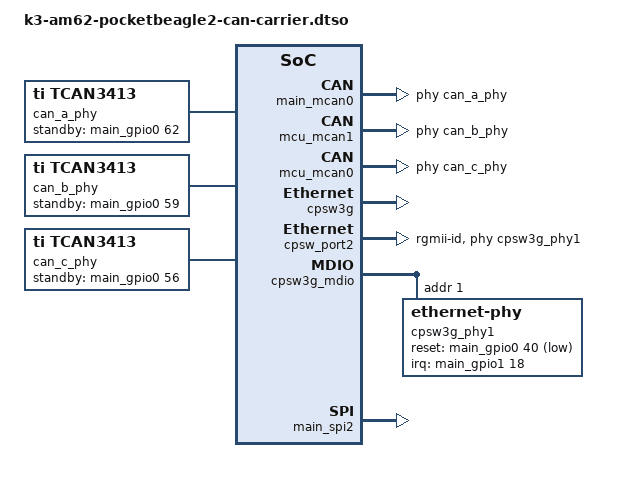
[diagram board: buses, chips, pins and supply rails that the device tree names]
// SPDX-License-Identifier: GPL-2.0-only OR MIT
/*
 * PocketBeagle 2 CAN Carrier baseboard, hardware V1.0 with the corrections
 * recorded in PB2_CAN_Carrier_Linux_Image_Work_Order.typ §2.
 *
 * Based on the v6.18.x k3-am62-pocketbeagle2.dts (see manifests/sources.lock
 * for the pinned commit). Pin offsets/modes verified against that pinned
 * base plus its k3-am62-pocketbeagle2-pinmux.dtsi (header-pin/ball fallback
 * reference) and against arch/arm64/boot/dts/ti/k3-am625-sk-common.dtsi and
 * k3-am625-sancloud-bbe-2.dts (linux-stable v6.18) for the RGMII2 and SPI2
 * function-mode confirmations respectively.
 *
 * Scope: 3x CAN-FD (TCAN3413 generic PHY + M_CAN), carrier UART0 console,
 * Gigabit Ethernet (DP83867 on CPSW port 2), user LED, SPI2 controller
 * only, and the 13-line J3 GPIO breakout. USB1 host and MAIN_UART6 need no
 * changes here: the stock PB2 DTS already configures them as required.
 */

/dts-v1/;
/plugin/;

#include <dt-bindings/gpio/gpio.h>
#include <dt-bindings/interrupt-controller/irq.h>
#include <dt-bindings/leds/common.h>
#include <dt-bindings/net/ti-dp83867.h>
#include "ti/k3-pinctrl.h"

/*
 * MAIN_UART6 is the default, complete console (work order D-12,
 * superseding the earlier D-06 decision to make carrier UART0 primary):
 * a jumper-selectable debug breakout on J4 will let the FTDI target
 * either MAIN_UART6 or carrier UART0, so the software default now
 * matches a stock, unmodified PocketBeagle 2. This overlay still applies
 * UART0's pinctrl unconditionally (see the Ethernet/UART0 pin group
 * below), so the UART0 device always exists as a plain serial port --
 * carrier UART0 as the active kernel console is a manual, reboot-time
 * override via /extlinux/extlinux.conf (see configs/uboot.fragment),
 * not a default set here or in the kernel command line.
 * /chosen/stdout-path can't be set to a base-only label from a plugin
 * overlay (dtc resolves stdout-path's label shorthand to a path STRING
 * at compile time -- unlike a <&label> phandle cell, that can't be
 * deferred through the overlay fixup mechanism to apply time), so
 * console selection is driven entirely by the U-Boot/kernel command
 * line (earlycon + console=) in configs/uboot.fragment regardless.
 */
&{/chosen} {
	overlays {
		k3-am62-pocketbeagle2-can-carrier.kernel = __TIMESTAMP__;
	};
};

/*
 * ---------------------------------------------------------------------
 * 1. CAN-FD transceiver PHYs (work order §5.3, §6.1)
 *
 * Each TCAN3413 is single-channel, STB-only (no software enable pin).
 * standby-gpios is active-high: the generic phy driver requests it
 * GPIOD_OUT_HIGH (standby) at probe time and only drives it low in
 * can_transceiver_phy_power_on(), which m_can_open() now calls after
 * the controller is started (see patches/kernel/0002-...).
 * ---------------------------------------------------------------------
 */
&main_pmx0 {
	can_a_pins_default: can-a-default-pins {
		pinctrl-single,pins = <
			AM62X_IOPAD(0x01d8, PIN_OUTPUT, 0) /* (C15) MCAN0_TX */
			AM62X_IOPAD(0x01dc, PIN_INPUT, 0)  /* (E15) MCAN0_RX */
			AM62X_IOPAD(0x00fc, PIN_OUTPUT, 7) /* (Y20) VOUT0_DE.GPIO0_62 -- CAN A STB */
		>;
	};

	can_b_stb_pins_default: can-b-stb-default-pins {
		pinctrl-single,pins = <
			AM62X_IOPAD(0x00f0, PIN_OUTPUT, 7) /* (Y22) VOUT0_DATA14.GPIO0_59 -- CAN B STB */
		>;
	};

	can_c_stb_pins_default: can-c-stb-default-pins {
		pinctrl-single,pins = <
			AM62X_IOPAD(0x00e4, PIN_OUTPUT, 7) /* (AA23) VOUT0_DATA11.GPIO0_56 -- CAN C STB */
		>;
	};

	/* CAN C TX/RX vs main_i2c2 (work order §5.2): park the main_i2c2
	 * companion balls (GPIO0_43/44) as bias-disabled inputs. */
	can_c_i2c2_companion_park: can-c-i2c2-companion-park-pins {
		pinctrl-single,pins = <
			AM62X_IOPAD(0x00b0, PIN_INPUT, 7) /* (K22) GPMC0_CSn2.GPIO0_43 */
			AM62X_IOPAD(0x00b4, PIN_INPUT, 7) /* (K24) GPMC0_CSn3.GPIO0_44 */
		>;
	};

	/* CAN C STB companion (work order §5.2): park GPIO1_29. */
	can_c_stb_companion_park: can-c-stb-companion-park-pins {
		pinctrl-single,pins = <
			AM62X_IOPAD(0x01ec, PIN_INPUT, 7) /* (A17) I2C1_SDA.GPIO1_29 */
		>;
	};
};

&mcu_pmx0 {
	/* CAN B = MCU_MCAN1 (work order Appendix A: TX=P2.11, RX=P2.09) */
	can_b_pins_default: can-b-default-pins {
		pinctrl-single,pins = <
			AM62X_MCU_IOPAD(0x003c, PIN_OUTPUT, 0) /* (E5) MCU_MCAN1_TX */
			AM62X_MCU_IOPAD(0x0040, PIN_INPUT, 0)  /* (D4) MCU_MCAN1_RX */
		>;
	};

	/* CAN C = MCU_MCAN0 (work order Appendix A: TX=P1.26, RX=P1.28) */
	can_c_pins_default: can-c-default-pins {
		pinctrl-single,pins = <
			AM62X_MCU_IOPAD(0x0034, PIN_OUTPUT, 0) /* (D6) MCU_MCAN0_TX */
			AM62X_MCU_IOPAD(0x0038, PIN_INPUT, 0)  /* (B3) MCU_MCAN0_RX */
		>;
	};
};

/*
 * A bare `/ { newnode {...}; };` block at the top level of a /plugin/
 * file is NOT auto-wrapped into a fragment by dtc: it compiles fine and
 * gets a local phandle for in-file references, but fdtoverlay's runtime
 * apply step only merges actual fragment/__overlay__ structures, so an
 * un-wrapped node is silently dropped when the overlay is applied to a
 * live base tree (verified empirically with fdtoverlay against the
 * pinned base dtb: the node compiled cleanly but never appeared in the
 * merged output). New standalone nodes must instead be merged in via an
 * explicit path target, `&{/path}`, matching the &{/chosen} pattern
 * BeagleBoard's own overlays already use for this same reason.
 */
&{/} {
	can_a_phy: can-phy-a {
		compatible = "ti,tcan3413";
		#phy-cells = <0>;
		max-bitrate = <8000000>;
		standby-gpios = <&main_gpio0 62 GPIO_ACTIVE_HIGH>;
	};

	can_b_phy: can-phy-b {
		compatible = "ti,tcan3413";
		#phy-cells = <0>;
		max-bitrate = <8000000>;
		standby-gpios = <&main_gpio0 59 GPIO_ACTIVE_HIGH>;
	};

	can_c_phy: can-phy-c {
		compatible = "ti,tcan3413";
		#phy-cells = <0>;
		max-bitrate = <8000000>;
		standby-gpios = <&main_gpio0 56 GPIO_ACTIVE_HIGH>;
	};
};

/* Merge into the stock /leds node (adds a child + extends pinctrl-0)
 * rather than redeclaring it, so the stock USR LED 1-4 pin claim
 * (&led_pins_default) is kept alongside the carrier LED's (work order
 * §8: preserve stock PB2 onboard LEDs). */
&{/leds} {
	pinctrl-0 = <&led_pins_default &carrier_user_led_pins_default>;

	carrier_user_led: led-carrier-user {
		function = LED_FUNCTION_INDICATOR;
		function-enumerator = <0>;
		color = <LED_COLOR_ID_GREEN>;
		gpios = <&main_gpio0 55 GPIO_ACTIVE_LOW>;
		default-state = "off";
		label = "carrier:user";
	};
};

&main_mcan0 {
	/* CAN A */
	pinctrl-names = "default";
	pinctrl-0 = <&can_a_pins_default>;
	phys = <&can_a_phy>;
	status = "okay";
};

&mcu_mcan1 {
	/* CAN B */
	pinctrl-names = "default";
	pinctrl-0 = <&can_b_pins_default &can_b_stb_pins_default>;
	phys = <&can_b_phy>;
	status = "okay";
};

&mcu_mcan0 {
	/* CAN C */
	pinctrl-names = "default";
	pinctrl-0 = <&can_c_pins_default &can_c_stb_pins_default
		     &can_c_i2c2_companion_park &can_c_stb_companion_park>;
	phys = <&can_c_phy>;
	status = "okay";
};

/* CAN C vs main_i2c2 (work order §5.2): disable the stock main_i2c2 use
 * of these same balls. Nothing on this carrier or the stock PB2 module
 * depends on main_i2c2 at runtime. */
&main_i2c2 {
	status = "disabled";
};

/*
 * ---------------------------------------------------------------------
 * 2. User LED vs epwm2 (work order §4.4, §5.2)
 * ---------------------------------------------------------------------
 */
&main_pmx0 {
	carrier_user_led_pins_default: carrier-user-led-default-pins {
		pinctrl-single,pins = <
			AM62X_IOPAD(0x00e0, PIN_OUTPUT, 7) /* (V20) VOUT0_DATA10.GPIO0_55 */
		>;
	};

	/* epwm2 companion park: ball B17 also carries EHRPWM2_A (epwm2,
	 * mode 8) in the stock PB2 DTS; park it as GPIO1_28 input. */
	epwm2_companion_park: epwm2-companion-park-pins {
		pinctrl-single,pins = <
			AM62X_IOPAD(0x01e8, PIN_INPUT, 7) /* (B17) I2C1_SCL.GPIO1_28 */
		>;
	};
};

&epwm2 {
	status = "disabled";
};

&main_gpio1 {
	pinctrl-names = "default";
	pinctrl-0 = <&epwm2_companion_park>;
};

/*
 * ---------------------------------------------------------------------
 * 3. Gigabit Ethernet: DP83867 on CPSW port 2 (work order §4.3, §5.4)
 *
 * RGMII2 pin group and the phy-mode/ti,rx-internal-delay pairing verified
 * against linux-stable v6.18 k3-am625-sk-common.dtsi, which uses the
 * identical AM625 RGMII2 balls with phy-mode "rgmii-rxid" (the SK board
 * uses DP83867_RGMIIDCTL_2_00_NS).
 *
 * This carrier needs a different RX delay: the hardware straps decode to
 * 2.0 ns (work order §4.3.1), but on real hardware 2.0 ns sits on the
 * edge of the working window (about 30-40 % CRC errors on received frames
 * and the same share of lost pings at 1 Gbit/s). A sweep of the PHY's RX
 * delay showed a clean window of 2.25-2.75 ns (0 CRC errors over 1500 x
 * 1400 B pings at 2.25, 2.50 and 2.75 ns); 2.50 ns is its centre. TX
 * delay stays 0 ns (the MAC supplies it, D-10).
 * ---------------------------------------------------------------------
 */
&main_pmx0 {
	main_rgmii2_pins_default: main-rgmii2-default-pins {
		pinctrl-single,pins = <
			AM62X_IOPAD(0x0184, PIN_INPUT, 0)  /* (AE23) RGMII2_RD0 */
			AM62X_IOPAD(0x0188, PIN_INPUT, 0)  /* (AB20) RGMII2_RD1 */
			AM62X_IOPAD(0x018c, PIN_INPUT, 0)  /* (AC21) RGMII2_RD2 */
			AM62X_IOPAD(0x0190, PIN_INPUT, 0)  /* (AE22) RGMII2_RD3 */
			AM62X_IOPAD(0x0180, PIN_INPUT, 0)  /* (AD23) RGMII2_RXC */
			AM62X_IOPAD(0x017c, PIN_INPUT, 0)  /* (AD22) RGMII2_RX_CTL */
			AM62X_IOPAD(0x016c, PIN_OUTPUT, 0) /* (Y18) RGMII2_TD0 */
			AM62X_IOPAD(0x0170, PIN_OUTPUT, 0) /* (AA18) RGMII2_TD1 */
			AM62X_IOPAD(0x0174, PIN_OUTPUT, 0) /* (AD21) RGMII2_TD2 */
			AM62X_IOPAD(0x0178, PIN_OUTPUT, 0) /* (AC20) RGMII2_TD3 */
			AM62X_IOPAD(0x0168, PIN_OUTPUT, 0) /* (AE21) RGMII2_TXC */
			AM62X_IOPAD(0x0164, PIN_OUTPUT, 0) /* (AA19) RGMII2_TX_CTL */
		>;
	};

	main_mdio0_pins_default: main-mdio0-default-pins {
		pinctrl-single,pins = <
			AM62X_IOPAD(0x0160, PIN_OUTPUT, 0) /* (AD24) MDIO0_MDC */
			AM62X_IOPAD(0x015c, PIN_INPUT, 0)  /* (AB22) MDIO0_MDIO */
		>;
	};

	/* MDIO0 companions (work order Appendix A): park GPIO1_11/GPIO1_9. */
	main_mdio0_companion_park: main-mdio0-companion-park-pins {
		pinctrl-single,pins = <
			AM62X_IOPAD(0x01a4, PIN_INPUT, 7) /* (B20) MCASP0_ACLKX.GPIO1_11 */
			AM62X_IOPAD(0x019c, PIN_INPUT, 7) /* (B18) MCASP0_AXR1.GPIO1_9 */
		>;
	};

	eth_reset_pins_default: eth-reset-default-pins {
		pinctrl-single,pins = <
			AM62X_IOPAD(0x00a4, PIN_OUTPUT, 7) /* (M22) GPMC0_DIR.GPIO0_40 -- ETH reset */
		>;
	};

	eth_int_pins_default: eth-int-default-pins {
		pinctrl-single,pins = <
			AM62X_IOPAD(0x01c0, PIN_INPUT, 7) /* (B13) SPI0_D0.GPIO1_18 -- ETH interrupt */
		>;
	};

	/* Ethernet reset companion (work order Appendix A / §5.2): P2.29 is a
	 * dual-ball position -- GPIO0_40 (M22, driven above) and GPIO1_17
	 * (A14) are two different SoC balls physically tied to the same
	 * header pin. A14 is also the stock main_spi0's SPI0_CLK; without
	 * both disabling main_spi0 below AND parking this ball explicitly,
	 * main_spi0's own pinctrl request would keep driving A14 as an
	 * active SPI clock in direct electrical contention with GPIO0_40
	 * driving the same header pin as a reset line. */
	eth_reset_companion_park: eth-reset-companion-park-pins {
		pinctrl-single,pins = <
			AM62X_IOPAD(0x01bc, PIN_INPUT, 7) /* (A14) SPI0_CLK.GPIO1_17 */
		>;
	};
};

/* Freed for the Ethernet reset/interrupt lines above (work order Appendix
 * A: GPIO1_17 companion of GPIO0_40 at P2.29, and GPIO1_18 used directly
 * for the interrupt): main_spi0's own pinctrl claims ball A14 (SPI0_CLK)
 * and ball B13 (SPI0_D0), the same balls/register offsets the carrier
 * needs. Leaving main_spi0 enabled would contend with the carrier's own
 * claim on B13 and drive A14 as an active clock against GPIO0_40 on the
 * same physical header pin. No consumer of main_spi0 was found anywhere
 * in the base PB2 DTS tree. */
&main_spi0 {
	status = "disabled";
};

/* MDIO0_MDC vs ecap2 (found on real hardware, RELEASE_NOTES.md item 9):
 * P2.01 is a dual-ball position -- AD24 (0x0160, MDIO0_MDC, claimed by
 * main_mdio0_pins_default above) and B20 (0x01a4, ECAP2_IN_APWM_OUT,
 * parked as GPIO1_11 by main_mdio0_companion_park above) are two
 * different SoC balls physically tied to the same header pin, same
 * pattern as the P2.29/eth_reset and P1.33/epwm2 companions elsewhere in
 * this file. The stock PB2 DTS keeps &ecap2 enabled by default
 * (k3-am62-pocketbeagle2-pinmux.dtsi) with a pinctrl-0 that claims BOTH
 * balls -- B20 actively as ECAP2_IN_APWM_OUT, and AD24 parked as its
 * companion. Left enabled, ecap2's own pinctrl-single request for AD24
 * (pin index 88 in the pinctrl-single driver's own numbering: 0x0160 / 4
 * = 88) wins the probe-order race, and cpsw3g's own request for that
 * same pad then fails with -EINVAL ("pin-88 ... already requested by
 * 23120000.pwm"), confirmed on real hardware. Nothing on this carrier
 * uses ECAP2 PWM capture. */
&ecap2 {
	status = "disabled";
};

&cpsw3g {
	pinctrl-names = "default";
	pinctrl-0 = <&main_rgmii2_pins_default &main_mdio0_pins_default
		     &main_mdio0_companion_park &eth_reset_pins_default
		     &eth_reset_companion_park &eth_int_pins_default>;
	status = "okay";
};

&cpsw_port2 {
	/* "rgmii-id", not "rgmii-rxid" (found on real hardware, dmesg: "RGMII
	 * mode without internal TX delay unsupported; please fix your Device
	 * Tree"). am65-cpsw-nuss.c has a fixed, always-on internal TX delay
	 * in RGMII mode for this MAC IP -- not board-configurable, not
	 * optional. The driver silently remaps "rgmii-id" -> "rgmii-rxid"
	 * internally (same PHY-side RX-delay-only behavior we already
	 * configured via ti,rx-internal-delay below, TX delay still left
	 * unprogrammed on the PHY per the decoded hardware straps, work
	 * order §4.3.1) and only warns when the DT claims no TX delay exists
	 * anywhere ("rgmii" or "rgmii-rxid") -- which was this carrier's
	 * previous, incorrect setting for this specific MAC driver. */
	phy-mode = "rgmii-id";
	phy-handle = <&cpsw3g_phy1>;
	status = "okay";
	/* Persistent MAC (work order §5.4 / §11 ETH-04). Only cpsw_port1 has
	 * the SoC's factory MAC hooked up in k3-am62-main.dtsi, but this
	 * carrier uses port 2 (the only external port), so without this
	 * property the driver logs "Use random MAC address" and the address
	 * changes on every boot. The U-Boot board fixup this node used to rely
	 * on does not happen on real hardware (U-Boot reports "Net: No
	 * ethernet found"). Point port 2 at the same eFuse slot: offset 0 of
	 * &cpsw_mac_syscon (0x43000200/0x43000204, MAC_ID0/MAC_ID1) holds the
	 * SoC's factory MAC. Port 1 is not used on this carrier, so the two
	 * ports never share a MAC on the wire. */
	ti,syscon-efuse = <&cpsw_mac_syscon 0x0>;
};

&cpsw3g_mdio {
	/* Redundant with the base node (matches it exactly): makes this
	 * fragment self-consistent so dtc's overlay checker doesn't fall
	 * back to the root default #address-cells/#size-cells when
	 * checking ethernet-phy@1's reg property out of base-dtb context. */
	#address-cells = <1>;
	#size-cells = <0>;
	status = "okay";

	cpsw3g_phy1: ethernet-phy@1 {
		reg = <1>;
		/* 2.50 ns = centre of the measured clean window (see the
		 * RGMII comment above). The Linux driver always writes this
		 * value, so changing the RX delay straps on the PCB does not
		 * replace it. */
		ti,rx-internal-delay = <DP83867_RGMIIDCTL_2_50_NS>;
		/* PHY TX delay intentionally left unprogrammed (work order
		 * §4.3.1: decoded PHY TX delay strap = 0 ns; the AM62x MAC
		 * side supplies TX timing per D-10). */
		/* RJ45 LEDs, Raspberry Pi 4/5 style (needs kernel patch
		 * 0003-net-phy-dp83867-add-ti-led-function...). Cells: LED_0,
		 * LED_1, LED_2, LED_GPIO = LEDCR1 source codes.
		 *   LED_1 (green, Q1/J6 pins 11-12): 11 = link up, blinks on RX/TX activity
		 *   LED_2 (orange, Q2/J6 pins 13-14):  5 = 1000BASE-T link only
		 *   LED_0 is not connected (0), LED_GPIO keeps its default (6;
		 *   the GPIO_0 pin is not muxed as LED_3, so Q3 stays off).
		 * The PHY drops this selection on every reset, so the driver
		 * re-applies it each time the PHY is initialised. */
		ti,led-function = <0 11 5 6>;
		reset-gpios = <&main_gpio0 40 GPIO_ACTIVE_LOW>;
		/* Confirmed against the DP83867E datasheet (TI SNLS504G),
		 * §6.7 Reset Timing (work order Appendix B link): T4 (RESET_N
		 * minimum assert pulse width) = 1us; T1 (settling time after
		 * deassert before the PHY accepts MDIO register accesses) =
		 * 195us nominal. Both values below carry a >5x safety margin
		 * over those datasheet minimums/nominals for process/voltage/
		 * temperature variation. */
		reset-assert-us = <1000>;
		reset-deassert-us = <1000>;
		interrupt-parent = <&main_gpio1>;
		/* The DP83867 INT pin is active-low open-drain, but the K3 GPIO
		 * controller cannot do level interrupts: requesting
		 * IRQ_TYPE_LEVEL_LOW failed on real hardware ("genirq: Setting
		 * trigger mode 8 for irq failed", PHY fell back to polling).
		 * The falling edge is what the PHY asserts for each event. */
		interrupts = <18 IRQ_TYPE_EDGE_FALLING>;
	};
};

/*
 * ---------------------------------------------------------------------
 * 4. SPI2 controller only (work order §4.5, §5.1, §7.2)
 *
 * J1/J2 are parallel copies of the same bus/CS0; only the controller is
 * enabled here. Child-device overlays live in dts/optional-spi-children/.
 * Mode-0 SPI2 function confirmed against linux-stable v6.18
 * k3-am625-sancloud-bbe-2.dts, which uses these identical AM625 balls.
 * ---------------------------------------------------------------------
 */
&main_pmx0 {
	main_spi2_pins_default: main-spi2-default-pins {
		pinctrl-single,pins = <
			AM62X_IOPAD(0x01ac, PIN_INPUT, 0) /* (E19) MCASP0_AFSR.SPI2_CS0 */
			AM62X_IOPAD(0x01b0, PIN_INPUT, 0) /* (A20) MCASP0_ACLKR.SPI2_CLK */
			AM62X_IOPAD(0x0194, PIN_INPUT, 0) /* (B19) MCASP0_AXR3.SPI2_D0 (MISO) */
			AM62X_IOPAD(0x0198, PIN_INPUT, 0) /* (A19) MCASP0_AXR2.SPI2_D1 (MOSI) */
		>;
	};

	/* SPI2 companions (work order §4.5 "park companion pad"). P1.08
	 * (SPI2_CLK) has no listed dual-ball companion. */
	main_spi2_companion_park: main-spi2-companion-park-pins {
		pinctrl-single,pins = <
			AM62X_IOPAD(0x0140, PIN_INPUT, 7) /* (AD18) RGMII1_TD3.GPIO0_78 -- P1.06 companion */
			AM62X_IOPAD(0x01f0, PIN_INPUT, 7) /* (A18) EXT_REFCLK1.GPIO1_30 -- P1.10 companion */
			AM62X_IOPAD(0x013c, PIN_INPUT, 7) /* (AE18) RGMII1_TD2.GPIO0_77 -- P1.12 companion */
		>;
	};
};

&main_spi2 {
	pinctrl-names = "default";
	pinctrl-0 = <&main_spi2_pins_default &main_spi2_companion_park>;
	status = "okay";
};

/*
 * ---------------------------------------------------------------------
 * 5. J3 GPIO breakout: 13 unclaimed, bias-disabled inputs (work order
 *    §4.6, §5.1). Line names follow work order's own example format
 *    (J3_<pin>_GPIO<bank>_<n>). Every other index below is reproduced
 *    unchanged from the stock k3-am62-pocketbeagle2-pinmux.dtsi so this
 *    overlay does not clobber BeagleBoard's existing names -- gpio-
 *    line-names is replaced wholesale on overlay apply, not merged.
 * ---------------------------------------------------------------------
 */
&main_pmx0 {
	j3_gpio_pins_default: j3-gpio-default-pins {
		pinctrl-single,pins = <
			AM62X_IOPAD(0x00b8, PIN_INPUT, 7) /* (U22) VOUT0_DATA0.GPIO0_45  -- J3.1 */
			AM62X_IOPAD(0x00c0, PIN_INPUT, 7) /* (W25) VOUT0_DATA2.GPIO0_47  -- J3.3 */
			AM62X_IOPAD(0x00bc, PIN_INPUT, 7) /* (V24) VOUT0_DATA1.GPIO0_46  -- J3.4 */
			AM62X_IOPAD(0x00d8, PIN_INPUT, 7) /* (V21) VOUT0_DATA8.GPIO0_53  -- J3.5 */
			AM62X_IOPAD(0x00c4, PIN_INPUT, 7) /* (W24) VOUT0_DATA3.GPIO0_48  -- J3.6 */
			AM62X_IOPAD(0x0100, PIN_INPUT, 7) /* (AC25) VOUT0_VSYNC.GPIO0_63 -- J3.7 */
			AM62X_IOPAD(0x00c8, PIN_INPUT, 7) /* (Y25) VOUT0_DATA4.GPIO0_49  -- J3.8 */
			AM62X_IOPAD(0x00f8, PIN_INPUT, 7) /* (AB24) VOUT0_HSYNC.GPIO0_61 -- J3.9 */
			AM62X_IOPAD(0x00d0, PIN_INPUT, 7) /* (Y23) VOUT0_DATA6.GPIO0_51  -- J3.10 */
			AM62X_IOPAD(0x00e8, PIN_INPUT, 7) /* (AB25) VOUT0_DATA12.GPIO0_57 -- J3.11 */
			AM62X_IOPAD(0x00ec, PIN_INPUT, 7) /* (AA24) VOUT0_DATA13.GPIO0_58 -- J3.12 */
			AM62X_IOPAD(0x01b8, PIN_INPUT, 7) /* (C13) SPI0_CS1.GPIO1_16     -- J3.13 */
			AM62X_IOPAD(0x00f4, PIN_INPUT, 7) /* (AA21) VOUT0_DATA15.GPIO0_60 -- J3.14 */
		>;
	};
};

&main_gpio0 {
	pinctrl-names = "default";
	pinctrl-0 = <&j3_gpio_pins_default>;
	gpio-line-names = "", "", "",	/* 0-2 */
			  "USR_LED_4", "USR_LED_3", "USR_LED_2",	/* 3-5 */
			  "USR_LED_1", "", "",	/* 6-8 */
			  "", "", "",	/* 9-11 */
			  "", "", "",	/* 12-14 */
			  "", "", "",	/* 15-17 */
			  "", "", "",	/* 18-20 */
			  "", "", "",	/* 21-23 */
			  "", "", "",	/* 24-26 */
			  "", "", "",	/* 27-29 */
			  "", "", "",	/* 30-32 */
			  "", "", "",	/* 33-35 */
			  "P1.13/USB_ID", "", "",	/* 36-38 */
			  "", "P2.29(M22)", "",	/* 39-41 */
			  "", "P1.28/I2C1_SCL(K22)", "P1.26/I2C1_SDA(K24)",	/* 42-44 */
			  "J3_01_GPIO0_45", "J3_04_GPIO0_46", "J3_03_GPIO0_47",	/* 45-47 */
			  "J3_06_GPIO0_48", "J3_08_GPIO0_49", "P1.20",	/* 48-50 */
			  "J3_10_GPIO0_51", "P2.33", "J3_05_GPIO0_53",	/* 51-53 */
			  "P2.35/AIN5/MSPM0_SWCLK", "P1.36(V20)", "carrier:can-c-stb",	/* 54-56 */
			  "J3_11_GPIO0_57", "J3_12_GPIO0_58", "carrier:can-b-stb",	/* 57-59 */
			  "J3_14_GPIO0_60", "J3_09_GPIO0_61", "carrier:can-a-stb",	/* 60-62 */
			  "J3_07_GPIO0_63", "P2.17", "",	/* 63-65 */
			  "", "", "",	/* 66-68 */
			  "", "", "",	/* 69-71 */
			  "", "", "",	/* 72-74 */
			  "", "", "P1.12(AE18)",	/* 75-77 */
			  "P1.06(AD18)", "", "",	/* 78-80 */
			  "", "", "",	/* 81-83 */
			  "", "P2.03(AB22)", "P2.01(AD24)",	/* 84-86 */
			  "P1.02(AA19)", "P1.35", "P1.04(Y18)",	/* 87-89 */
			  "P2.31(AA18)", "P2.10";	/* 90-91 */
	status = "okay";
};

&main_gpio1 {
	gpio-line-names = "P2.19", "P1.19/AIN0", "P1.34",	/* 0-2 */
			  "P1.27/AIN4", "P1.25/AIN3", "P1.23/AIN2",	/* 3-5 */
			  "P1.21/AIN1", "P1.10(B19)", "P1.12(A19)",	/* 6-8 */
			  "P2.03(B18)", "P1.02/AIN6(E18)", "P2.01(B20)",	/* 9-11 */
			  "P1.04(D20)", "P1.06(E19)", "P1.08",	/* 12-14 */
			  "P2.31(A13)", "J3_13_GPIO1_16", "carrier:eth-reset(GPIO1_17)",	/* 15-17 */
			  "carrier:eth-int(GPIO1_18)", "P2.25", "P1.32",	/* 18-20 */
			  "P1.30", "P2.09(A15)", "P2.11(B15)",	/* 21-23 */
			  "P2.05(C15)", "P2.07(E15)", "",	/* 24-26 */
			  "", "carrier:epwm2-park(GPIO1_28)", "P1.33(A17)",	/* 27-29 */
			  "P1.10(A18)", "";	/* 30-31 */
	status = "okay";
};
